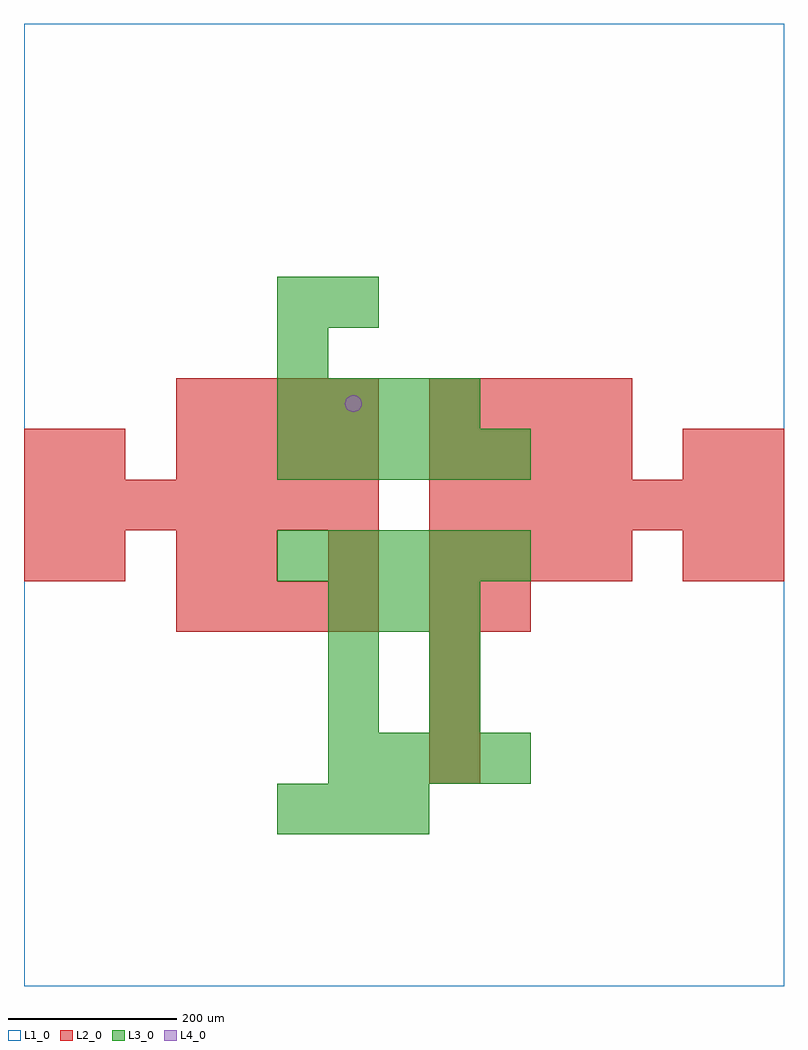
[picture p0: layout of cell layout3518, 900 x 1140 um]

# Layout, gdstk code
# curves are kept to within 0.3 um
import gdstk
lib = gdstk.Library(unit=1e-6, precision=1e-09)
def R(c, l, rs):  # rectangles x0, y0, x1, y1
    for r in rs: c.add(gdstk.rectangle(r[:2], r[2:], *l))
def A(c, l, x, y, w, h, nx, ny, dx, dy):  # array of equal rectangles
    R(c, l, [(x+i*dx, y+j*dy, x+i*dx+w, y+j*dy+h) for i in range(nx) for j in range(ny)])
def P(c, l, *ps):  # polygons
    for p in ps: c.add(gdstk.Polygon(p, *l))
L1_0 = (1, 0)
L2_0 = (2, 0)
L3_0 = (3, 0)
L4_0 = (4, 0)

layout3518 = lib.new_cell('layout3518')
R(layout3518, L1_0, [(0,0,900,1140)])
A(layout3518, L2_0, 480, 240, 60, 60, 1, 4, 0, 60)
A(layout3518, L2_0, 180, 420, 60, 60, 4, 2, 60, 180)
A(layout3518, L2_0, 240, 480, 60, 60, 3, 1, 120, 0)
A(layout3518, L2_0, 540, 480, 60, 60, 3, 1, 60, 0)
A(layout3518, L2_0, 0, 540, 60, 60, 7, 1, 60, 0)
A(layout3518, L2_0, 480, 540, 60, 60, 7, 1, 60, 0)
A(layout3518, L2_0, 480, 600, 60, 60, 4, 2, 60, 60)
A(layout3518, L2_0, 180, 660, 60, 60, 4, 1, 60, 0)
R(layout3518, L2_0, [(540,420,600,480), (0,480,60,540), (60,480,120,540), (180,480,240,540), (780,480,840,540), (840,480,900,540), (0,600,60,660), (60,600,120,660), (780,600,840,660), (840,600,900,660)])
A(layout3518, L3_0, 300, 180, 60, 60, 3, 1, 60, 0)
A(layout3518, L3_0, 360, 240, 60, 60, 4, 1, 60, 0)
A(layout3518, L3_0, 360, 420, 60, 60, 3, 1, 60, 0)
A(layout3518, L3_0, 300, 480, 60, 60, 5, 2, 60, 120)
A(layout3518, L3_0, 300, 660, 60, 60, 4, 1, 60, 0)
R(layout3518, L3_0, [(360,300,420,360), (480,300,540,360), (360,360,420,420), (480,360,540,420), (300,720,360,780), (300,780,360,840), (360,780,420,840)])
P(layout3518, L4_0, [(400,690),(399.239,693.827),(397.071,697.071),(393.827,699.239),(390,700),(386.173,699.239),(382.929,697.071),(380.761,693.827),(380,690),(380.761,686.173),(382.929,682.929),(386.173,680.761),(390,680),(393.827,680.761),(397.071,682.929),(399.239,686.173)])

lib.write_gds('layout3518.gds')
